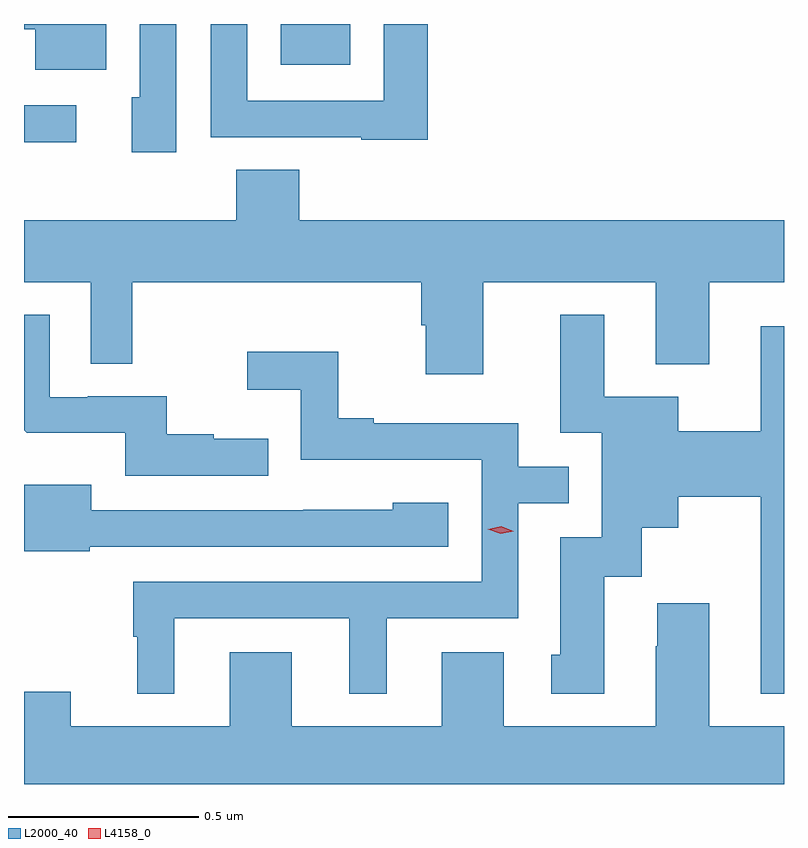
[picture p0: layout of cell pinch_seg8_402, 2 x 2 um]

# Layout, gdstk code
import gdstk
lib = gdstk.Library(unit=1e-6, precision=1e-09)
def R(c, l, rs):  # rectangles x0, y0, x1, y1
    for r in rs: c.add(gdstk.rectangle(r[:2], r[2:], *l))
def P(c, l, *ps):  # polygons
    for p in ps: c.add(gdstk.Polygon(p, *l))
L2000_40 = (2000, 40)
L4158_0 = (4158, 0)

pinch_seg8_402 = lib.new_cell('pinch_seg8_402')
R(pinch_seg8_402, L2000_40, [(517.426,1096.889,517.564,1096.986), (518.102,1097.093,518.284,1097.2)])
P(pinch_seg8_402, L2000_40, [(517.642,1097.2),(517.426,1097.2),(517.426,1097.186),(517.455,1097.186),(517.455,1097.079),(517.642,1097.079)],
  [(518.489,1097.2),(518.373,1097.2),(518.373,1096.998),(518.013,1096.998),(518.013,1097.2),(517.917,1097.2),(517.917,1096.902),(518.313,1096.902),(518.313,1096.895),(518.489,1096.895)],
  [(517.827,1097.2),(517.731,1097.2),(517.731,1097.007),(517.709,1097.007),(517.709,1096.863),(517.827,1096.863)],
  [(517.426,1096.52),(517.602,1096.52),(517.602,1096.306),(517.711,1096.306),(517.711,1096.52),(518.471,1096.52),(518.471,1096.407),(518.483,1096.407),(518.483,1096.278),(518.635,1096.278),(518.635,1096.52),(519.089,1096.52),(519.089,1096.304),(519.229,1096.304),(519.229,1096.52),(519.426,1096.52),(519.426,1096.684),(518.15,1096.684),(518.15,1096.817),(517.985,1096.817),(517.985,1096.684),(517.426,1096.684)],
  [(518.069,1096.108),(517.925,1096.108),(517.925,1096.12),(517.802,1096.12),(517.802,1096.221),(517.594,1096.221),(517.594,1096.218),(517.494,1096.218),(517.494,1096.435),(517.426,1096.435),(517.426,1096.131),(517.433,1096.124),(517.692,1096.124),(517.692,1096.011),(518.069,1096.011)],
  [(519.426,1096.405),(519.365,1096.405),(519.365,1096.128),(519.148,1096.128),(519.148,1096.219),(518.953,1096.219),(518.953,1096.435),(518.837,1096.435),(518.837,1096.125),(518.946,1096.125),(518.946,1095.849),(518.837,1095.849),(518.837,1095.54),(518.813,1095.54),(518.813,1095.438),(518.953,1095.438),(518.953,1095.746),(519.051,1095.746),(519.051,1095.875),(519.148,1095.875),(519.148,1095.956),(519.365,1095.956),(519.365,1095.437),(519.426,1095.437)],
  [(517.822,1095.636),(518.282,1095.636),(518.282,1095.437),(518.38,1095.437),(518.38,1095.636),(518.727,1095.636),(518.727,1095.939),(518.86,1095.939),(518.86,1096.035),(518.727,1096.035),(518.727,1096.149),(518.347,1096.149),(518.347,1096.162),(518.253,1096.162),(518.253,1096.337),(518.013,1096.337),(518.013,1096.238),(518.154,1096.238),(518.154,1096.053),(518.631,1096.053),(518.631,1095.732),(517.713,1095.732),(517.713,1095.588),(517.724,1095.588),(517.724,1095.437),(517.822,1095.437)],
  [(517.599,1095.825),(518.542,1095.825),(518.542,1095.94),(518.397,1095.94),(518.397,1095.922),(518.161,1095.922),(518.161,1095.921),(517.603,1095.921),(517.603,1095.988),(517.426,1095.988),(517.426,1095.813),(517.599,1095.813)],
  [(519.426,1095.352),(519.229,1095.352),(519.229,1095.676),(519.092,1095.676),(519.092,1095.563),(519.089,1095.563),(519.089,1095.352),(518.689,1095.352),(518.689,1095.547),(518.525,1095.547),(518.525,1095.352),(518.131,1095.352),(518.131,1095.547),(517.967,1095.547),(517.967,1095.352),(517.549,1095.352),(517.549,1095.443),(517.426,1095.443),(517.426,1095.2),(519.426,1095.2)])
P(pinch_seg8_402, L4158_0, [(518.68,1095.858),(518.647,1095.87),(518.647,1095.87),(518.647,1095.87),(518.682,1095.878),(518.715,1095.865),(518.715,1095.865),(518.715,1095.865)])

lib.write_gds('pinch_seg8_402.gds')
